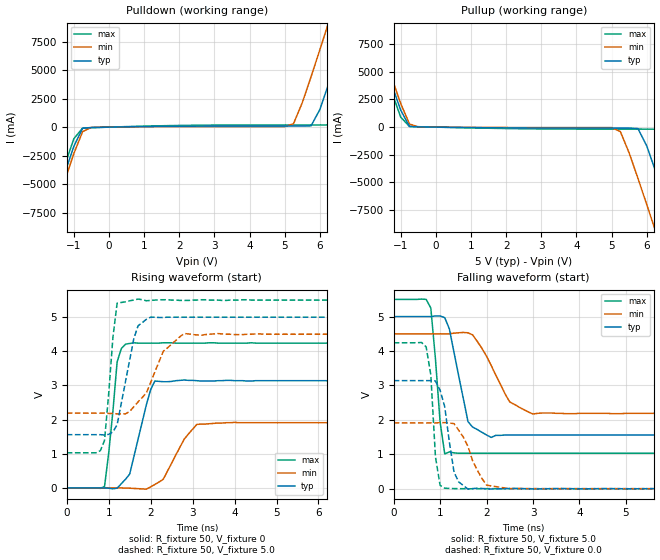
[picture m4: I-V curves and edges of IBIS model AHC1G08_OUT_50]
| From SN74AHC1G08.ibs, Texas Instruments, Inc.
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|   Model AHC1G08_OUT_50
[Model]   AHC1G08_OUT_50
Model_type  Output
Polarity   Inverting
Vmeas = 2.50v
Cref = 15pf
| variable   typ   min   max
C_comp   3.12pf   2.34pf   3.90pf
[Temperature Range]   25   85   -40
[Voltage Range]   5.0   4.5   5.5
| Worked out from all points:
|   slope of the pulldown table from 0 to 0.75 V, typ, clamps not added: 18.8 ohm
|   slope of the pullup table from 0 to 0.75 V, typ, clamps not added: 25.3 ohm
|   rising waveform, R_fixture 50, V_fixture 0: 20-80 % time 371ps typ, 512ps min, 198ps max; typ from 0 V to 3.14 V
|   falling waveform, R_fixture 50, V_fixture 5.0: 20-80 % time 307ps typ, 524ps min, 158ps max; typ from 5 V to 1.56 V
|   rising waveform, R_fixture 50, V_fixture 5.0: 20-80 % time 326ps typ, 537ps min, 181ps max; typ from 1.56 V to 5 V
|   falling waveform, R_fixture 50, V_fixture 0.0: 20-80 % time 211ps typ, 380ps min, 119ps max; typ from 3.14 V to 0 V
[Pulldown]
|   Voltage   I(typ)   I(min)   I(max)
-5V       -40.9A     -41.4A     -40.3A
-1.75V    -8.76A     -9.39A     -8.09A
-1V       -1.69A     -2.33A     -1.02A
-750mV    -95.5mA    -395mA     -80.6mA
5.25V     93.4mA     298mA      192mA
5.75V     116mA      4.42A      192mA
6.25V     3.8A       9.19A      193mA
6.5V      6.17A      11.6A      931mA
6.75V     8.59A      14.1A      3.15A
7.25V     13.5A      19A        7.96A
7.5V      15.9A      21.4A      10.4A
10V       40.7A      46.2A      35.2A
[Pullup]
|   Voltage   I(typ)   I(min)   I(max)
-5V       40.7A      41.2A      40.1A
-2V       11A        11.6A      10.4A
-1.75V    8.59A      9.19A      7.96A
-1V       1.54A      2.14A      907mA
-750mV    63.6mA     284mA      62.5mA
5.25V     -84.4mA    -401mA     -178mA
5.75V     -130mA     -4.62A     -178mA
6.25V     -3.97A     -9.39A     -187mA
6.75V     -8.76A     -14.3A     -3.28A
7.25V     -13.6A     -19.2A     -8.09A
7.5V      -16.1A     -21.6A     -10.5A
10V       -40.9A     -46.4A     -35.3A
[Ramp]
| variable   typ   min   max
dV/dt_r   1.88E+00/3.25E-10   1.15E+00/5.04E-10   2.55E+00/2.32E-10
dV/dt_f   2.09E+00/3.49E-10   1.42E+00/5.52E-10   2.70E+00/1.34E-10
R_load = 50
[Rising Waveform]
R_fixture = 50
V_fixture = 0
|   Time   V(typ)   V(min)   V(max)
0s        0V         0V         0V
900ps     921uV      356uV      40.9mV
1ns       -7.91mV    713uV      1.03V
1.2ns     -5.49mV    1.67mV     3.69V
1.3ns     124mV      -387uV     4.08V
1.5ns     407mV      -7.27mV    4.23V
1.6ns     918mV      -14.4mV    4.25V
2.1ns     3.13V      103mV      4.24V
3.2ns     3.13V      1.87V      4.24V
25ns      3.14V      1.91V      4.24V
[Falling Waveform]
R_fixture = 50
V_fixture = 5.0
V_fixture_min = 4.5
V_fixture_max = 5.5
|   Time   V(typ)   V(min)   V(max)
0s        5V         4.5V       5.5V
800ps     5V         4.5V       5.25V
1ns       5.02V      4.5V       1.94V
1.1ns     4.97V      4.5V       1.01V
1.2ns     4.64V      4.5V       1.07V
1.6ns     1.95V      4.53V      1.03V
2.1ns     1.49V      3.58V      1.03V
2.5ns     1.56V      2.52V      1.03V
3ns       1.56V      2.17V      1.03V
25ns      1.56V      2.19V      1.03V
[Rising Waveform]
R_fixture = 50
V_fixture = 5.0
V_fixture_min = 4.5
V_fixture_max = 5.5
|   Time   V(typ)   V(min)   V(max)
0s        1.56V      2.19V      1.03V
800ps     1.56V      2.19V      1.09V
900ps     1.55V      2.19V      1.39V
1.1ns     1.64V      2.18V      4.41V
1.2ns     1.85V      2.17V      5.41V
1.7ns     4.75V      2.52V      5.53V
1.9ns     4.94V      2.79V      5.48V
2.3ns     4.99V      4V         5.51V
2.8ns     5V         4.52V      5.49V
25ns      5V         4.5V       5.5V
[Falling Waveform]
R_fixture = 50
V_fixture = 0.0
|   Time   V(typ)   V(min)   V(max)
0s        3.14V      1.91V      4.24V
700ps     3.14V      1.91V      4.12V
800ps     3.14V      1.91V      3.31V
900ps     3.13V      1.91V      925mV
1.1ns     2.38V      1.92V      13.8mV
1.3ns     482mV      1.89V      3.07mV
1.6ns     -13.6mV    1.23V      -2.05mV
2ns       -4.59mV    103mV      1.17mV
2.5ns     6.84mV     3.35mV     -994uV
25ns      0V         0V         0V
